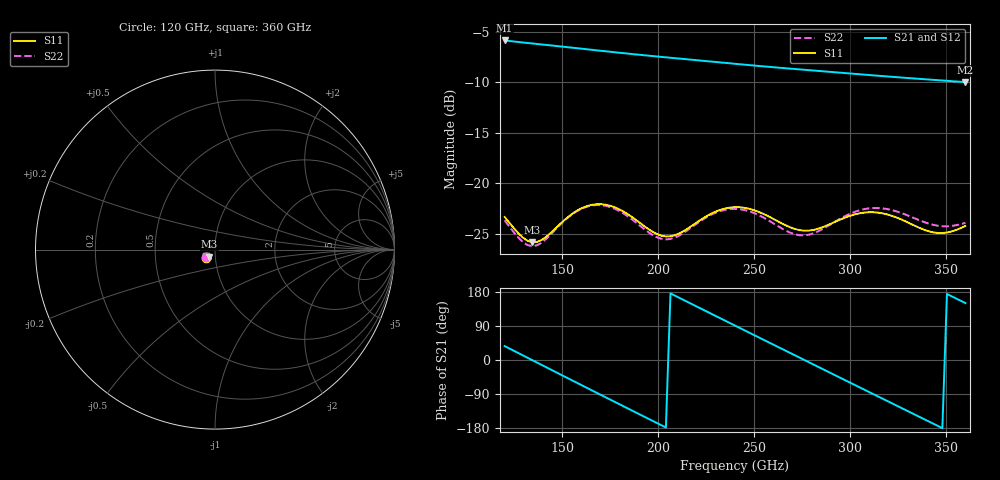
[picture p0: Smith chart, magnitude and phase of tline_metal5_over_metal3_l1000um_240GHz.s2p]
#  GHZ S DB R 50
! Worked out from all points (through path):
!   101 points, 120 GHz to 360 GHz, reference 50 ohm
!   highest |S21| = -5.86 dB at 120 GHz (marker M1); lowest = -10.0 dB at 360 GHz (marker M2)
!   group delay of S21, straight-line fit = 7.01 ps
!   lowest |S11| = -25.8 dB at 134.4 GHz (marker M3), VSWR 1.11, Z = 46.8 - j3.77 ohm
!   |S11| at or under -10 dB: start of sweep to end of sweep
!   |S22| runs from -26.2 to -22.2 dB; largest |S21 - S12| = 5.2e-14
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120  -23.34 -138.7  -5.86 36.7  -5.86 36.7  -23.68 -137.8
134.4  -25.84 -128.0  -6.16 -0.4  -6.16 -0.4  -26.23 -124.9
146.4  -24.49 -116.4  -6.40 -31.3  -6.40 -31.3  -24.60 -113.1
160.8  -22.41 -123.2  -6.70 -68.2  -6.70 -68.2  -22.46 -121.1
170.4  -22.08 -132.7  -6.89 -92.8  -6.89 -92.8  -22.17 -131.1
180  -22.61 -141.4  -7.09 -117.2  -7.09 -117.2  -22.78 -140.0
192  -24.14 -145.7  -7.32 -147.7  -7.32 -147.7  -24.43 -144.0
201.6  -25.19 -140.6  -7.49 -172.0  -7.49 -172.0  -25.50 -138.1
211.2  -24.95 -132.4  -7.66 163.6  -7.66 163.6  -25.15 -129.4
223.2  -23.49 -130.4  -7.88 133.2  -7.88 133.2  -23.59 -127.9
240  -22.37 -140.7  -8.17 90.8  -8.17 90.8  -22.54 -139.0
249.6  -22.64 -147.5  -8.34 66.6  -8.34 66.6  -22.92 -145.9
261.6  -23.69 -151.6  -8.54 36.5  -8.54 36.5  -24.16 -149.3
271.2  -24.53 -149.2  -8.69 12.4  -8.69 12.4  -25.06 -145.1
280.8  -24.63 -143.7  -8.84 -11.7  -8.84 -11.7  -24.97 -137.8
290.4  -23.97 -140.7  -8.99 -35.8  -8.99 -35.8  -24.00 -134.3
302.4  -23.08 -143.4  -9.17 -65.9  -9.17 -65.9  -22.83 -137.6
312  -22.87 -148.4  -9.32 -89.9  -9.32 -89.9  -22.46 -143.4
321.6  -23.22 -153.1  -9.46 -113.9  -9.46 -113.9  -22.65 -149.0
340.8  -24.75 -152.2  -9.73 -161.9  -9.73 -161.9  -23.99 -151.6
350.4  -24.88 -146.2  -9.86 174.2  -9.86 174.2  -24.26 -147.8
360  -24.23 -141.8  -9.99 150.2  -9.99 150.2  -23.92 -144.7
